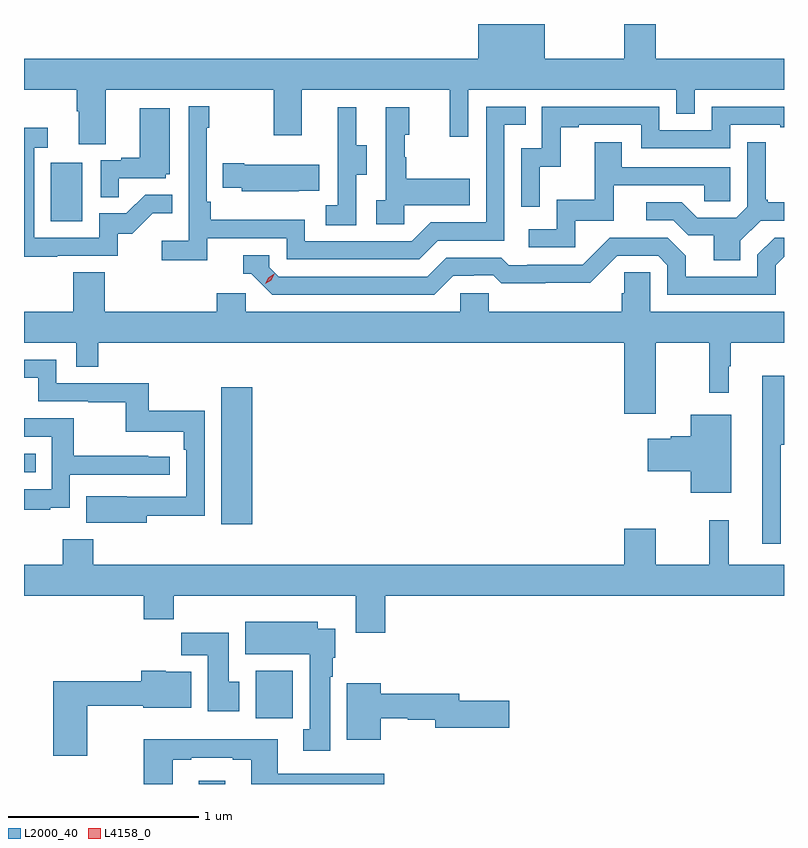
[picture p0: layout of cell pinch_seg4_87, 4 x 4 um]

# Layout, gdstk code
import gdstk
lib = gdstk.Library(unit=1e-6, precision=1e-09)
def R(c, l, rs):  # rectangles x0, y0, x1, y1
    for r in rs: c.add(gdstk.rectangle(r[:2], r[2:], *l))
def P(c, l, *ps):  # polygons
    for p in ps: c.add(gdstk.Polygon(p, *l))
L2000_40 = (2000, 40)
L4158_0 = (4158, 0)

pinch_seg4_87 = lib.new_cell('pinch_seg4_87')
R(pinch_seg4_87, L2000_40, [(1061.867,823.802,1062.007,823.819), (1062.167,824.148,1062.363,824.398), (1061.987,825.168,1062.148,825.889), (1060.948,825.444,1061.009,825.54), (1061.09,826.764,1061.254,827.071)])
P(pinch_seg4_87, L2000_40, [(1061.377,827.456),(1062.262,827.456),(1062.262,827.217),(1062.409,827.217),(1062.409,827.456),(1063.19,827.456),(1063.19,827.208),(1063.287,827.208),(1063.287,827.456),(1064.382,827.456),(1064.382,827.329),(1064.478,827.329),(1064.478,827.456),(1064.948,827.456),(1064.948,827.62),(1064.272,827.62),(1064.272,827.802),(1064.108,827.802),(1064.108,827.62),(1063.69,827.62),(1063.69,827.802),(1063.34,827.802),(1063.34,827.62),(1060.948,827.62),(1060.948,827.456),(1061.225,827.456),(1061.225,827.344),(1061.237,827.344),(1061.237,827.17),(1061.377,827.17)],
  [(1061.912,826.674),(1062.33,826.674),(1062.33,826.563),(1063.027,826.563),(1063.126,826.662),(1063.476,826.662),(1063.476,827.271),(1063.589,827.271),(1063.589,827.367),(1063.38,827.367),(1063.38,826.758),(1063.089,826.758),(1062.99,826.659),(1062.426,826.659),(1062.426,826.771),(1061.93,826.771),(1061.93,826.867),(1061.91,826.867),(1061.91,827.255),(1061.923,827.255),(1061.923,827.368),(1061.814,827.368),(1061.814,826.66),(1061.673,826.66),(1061.673,826.558),(1061.912,826.558)],
  [(1063.662,827.051),(1063.772,827.051),(1063.772,827.259),(1063.867,827.259),(1063.867,827.271),(1064.196,827.271),(1064.196,827.148),(1064.664,827.148),(1064.664,827.271),(1064.927,827.271),(1064.927,827.259),(1064.948,827.259),(1064.948,827.367),(1064.568,827.367),(1064.568,827.244),(1064.292,827.244),(1064.292,827.367),(1063.674,827.367),(1063.674,827.148),(1063.566,827.148),(1063.566,826.839),(1063.662,826.839)],
  [(1062.948,826.847),(1063.295,826.847),(1063.295,826.987),(1062.961,826.987),(1062.961,827.102),(1062.951,827.102),(1062.951,827.22),(1062.976,827.22),(1062.976,827.365),(1062.852,827.365),(1062.852,826.874),(1062.801,826.874),(1062.801,826.749),(1062.948,826.749)],
  [(1062.696,827.008),(1062.751,827.008),(1062.751,827.163),(1062.697,827.163),(1062.697,827.365),(1062.599,827.365),(1062.599,827.151),(1062.6,827.151),(1062.6,826.847),(1062.537,826.847),(1062.537,826.744),(1062.696,826.744)],
  [(1061.447,826.989),(1061.694,826.989),(1061.694,827.01),(1061.716,827.01),(1061.716,827.359),(1061.558,827.359),(1061.558,827.098),(1061.459,827.098),(1061.459,827.085),(1061.352,827.085),(1061.352,826.891),(1061.447,826.891)],
  [(1061.123,826.581),(1061.442,826.581),(1061.442,826.698),(1061.518,826.698),(1061.625,826.805),(1061.729,826.805),(1061.729,826.904),(1061.585,826.904),(1061.487,826.806),(1061.343,826.806),(1061.343,826.677),(1061.001,826.677),(1061.001,827.151),(1061.074,827.151),(1061.074,827.257),(1060.948,827.257),(1060.948,826.576),(1061.123,826.576)],
  [(1063.848,826.767),(1064.053,826.767),(1064.053,826.953),(1064.527,826.953),(1064.527,826.869),(1064.664,826.869),(1064.664,827.049),(1064.095,827.049),(1064.095,827.179),(1063.951,827.179),(1063.951,826.876),(1063.752,826.876),(1063.752,826.722),(1063.605,826.722),(1063.605,826.626),(1063.848,826.626)],
  [(1064.719,826.66),(1064.826,826.767),(1064.948,826.767),(1064.948,826.864),(1064.863,826.864),(1064.863,826.876),(1064.851,826.876),(1064.851,827.179),(1064.754,827.179),(1064.754,826.839),(1064.697,826.782),(1064.491,826.782),(1064.41,826.863),(1064.223,826.863),(1064.223,826.77),(1064.364,826.77),(1064.444,826.69),(1064.579,826.69),(1064.579,826.558),(1064.719,826.558)],
  [(1062.395,826.925),(1062.503,826.925),(1062.503,827.062),(1062.106,827.062),(1062.106,827.07),(1061.995,827.07),(1061.995,826.94),(1062.093,826.94),(1062.093,826.922),(1062.395,826.922)],
  [(1063.207,826.476),(1063.314,826.476),(1063.314,826.479),(1063.417,826.479),(1063.459,826.437),(1063.692,826.437),(1063.692,826.439),(1063.928,826.439),(1064.07,826.581),(1064.286,826.581),(1064.334,826.533),(1064.334,826.377),(1064.904,826.377),(1064.904,826.533),(1064.948,826.577),(1064.948,826.677),(1064.898,826.677),(1064.808,826.587),(1064.808,826.473),(1064.431,826.473),(1064.431,826.583),(1064.337,826.677),(1064.031,826.677),(1063.89,826.536),(1063.597,826.536),(1063.597,826.533),(1063.498,826.533),(1063.459,826.572),(1063.17,826.572),(1063.071,826.473),(1062.288,826.473),(1062.24,826.521),(1062.24,826.584),(1062.101,826.584),(1062.101,826.488),(1062.144,826.488),(1062.255,826.377),(1063.108,826.377)],
  [(1064.108,825.75),(1064.272,825.75),(1064.272,826.124),(1064.554,826.124),(1064.554,825.861),(1064.656,825.861),(1064.656,826.001),(1064.668,826.001),(1064.668,826.124),(1064.948,826.124),(1064.948,826.288),(1064.244,826.288),(1064.244,826.496),(1064.107,826.496),(1064.107,826.386),(1064.093,826.386),(1064.093,826.288),(1063.395,826.288),(1063.395,826.386),(1063.245,826.386),(1063.245,826.288),(1062.114,826.288),(1062.114,826.386),(1061.963,826.386),(1061.963,826.288),(1061.372,826.288),(1061.372,826.496),(1061.207,826.496),(1061.207,826.288),(1060.948,826.288),(1060.948,826.124),(1061.223,826.124),(1061.223,825.997),(1061.339,825.997),(1061.339,826.124),(1064.108,826.124)],
  [(1061.593,825.214),(1061.898,825.214),(1061.898,825.766),(1061.605,825.766),(1061.605,825.912),(1061.118,825.912),(1061.118,826.035),(1060.948,826.035),(1060.948,825.939),(1061.022,825.939),(1061.022,825.816),(1061.287,825.816),(1061.287,825.811),(1061.484,825.811),(1061.484,825.656),(1061.789,825.656),(1061.789,825.56),(1061.802,825.56),(1061.802,825.315),(1061.489,825.315),(1061.489,825.316),(1061.275,825.316),(1061.275,825.176),(1061.593,825.176)],
  [(1064.931,825.587),(1064.948,825.587),(1064.948,825.952),(1064.834,825.952),(1064.834,825.066),(1064.931,825.066)],
  [(1064.671,825.745),(1064.456,825.745),(1064.456,825.632),(1064.352,825.632),(1064.352,825.619),(1064.232,825.619),(1064.232,825.449),(1064.456,825.449),(1064.456,825.335),(1064.671,825.335)],
  [(1061.087,825.257),(1061.19,825.257),(1061.19,825.429),(1061.716,825.429),(1061.716,825.525),(1061.603,825.525),(1061.603,825.53),(1061.21,825.53),(1061.21,825.726),(1060.948,825.726),(1060.948,825.63),(1061.094,825.63),(1061.094,825.354),(1060.948,825.354),(1060.948,825.246),(1061.087,825.246)],
  [(1062.848,824.792),(1064.948,824.792),(1064.948,824.956),(1064.657,824.956),(1064.657,825.19),(1064.554,825.19),(1064.554,824.956),(1064.272,824.956),(1064.272,825.145),(1064.108,825.145),(1064.108,824.956),(1061.312,824.956),(1061.312,825.091),(1061.152,825.091),(1061.152,824.956),(1060.948,824.956),(1060.948,824.792),(1061.579,824.792),(1061.579,824.668),(1061.735,824.668),(1061.735,824.792),(1062.695,824.792),(1062.695,824.598),(1062.848,824.598)],
  [(1062.559,824.366),(1062.574,824.366),(1062.574,824.466),(1062.586,824.466),(1062.586,824.62),(1062.493,824.62),(1062.493,824.656),(1062.113,824.656),(1062.113,824.486),(1062.452,824.486),(1062.452,824.089),(1062.419,824.089),(1062.419,823.977),(1062.559,823.977)],
  [(1062.082,824.34),(1062.025,824.34),(1062.025,824.598),(1061.776,824.598),(1061.776,824.48),(1061.915,824.48),(1061.915,824.184),(1062.082,824.184)],
  [(1061.28,824.215),(1061.576,824.215),(1061.576,824.204),(1061.827,824.204),(1061.827,824.392),(1061.694,824.392),(1061.694,824.398),(1061.564,824.398),(1061.564,824.344),(1061.102,824.344),(1061.102,823.95),(1061.28,823.95)],
  [(1062.826,824.148),(1062.969,824.148),(1062.969,824.14),(1063.112,824.14),(1063.112,824.098),(1063.501,824.098),(1063.501,824.24),(1063.24,824.24),(1063.24,824.276),(1062.826,824.276),(1062.826,824.332),(1062.647,824.332),(1062.647,824.036),(1062.826,824.036)],
  [(1061.731,823.929),(1061.827,823.929),(1061.827,823.941),(1062.047,823.941),(1062.047,823.929),(1062.143,823.929),(1062.143,823.802),(1062.844,823.802),(1062.844,823.857),(1062.283,823.857),(1062.283,824.038),(1061.579,824.038),(1061.579,823.802),(1061.731,823.802)])
P(pinch_seg4_87, L4158_0, [(1062.218,826.434),(1062.218,826.434),(1062.234,826.467),(1062.264,826.487),(1062.264,826.487),(1062.264,826.487),(1062.249,826.454),(1062.219,826.434)])

lib.write_gds('pinch_seg4_87.gds')
